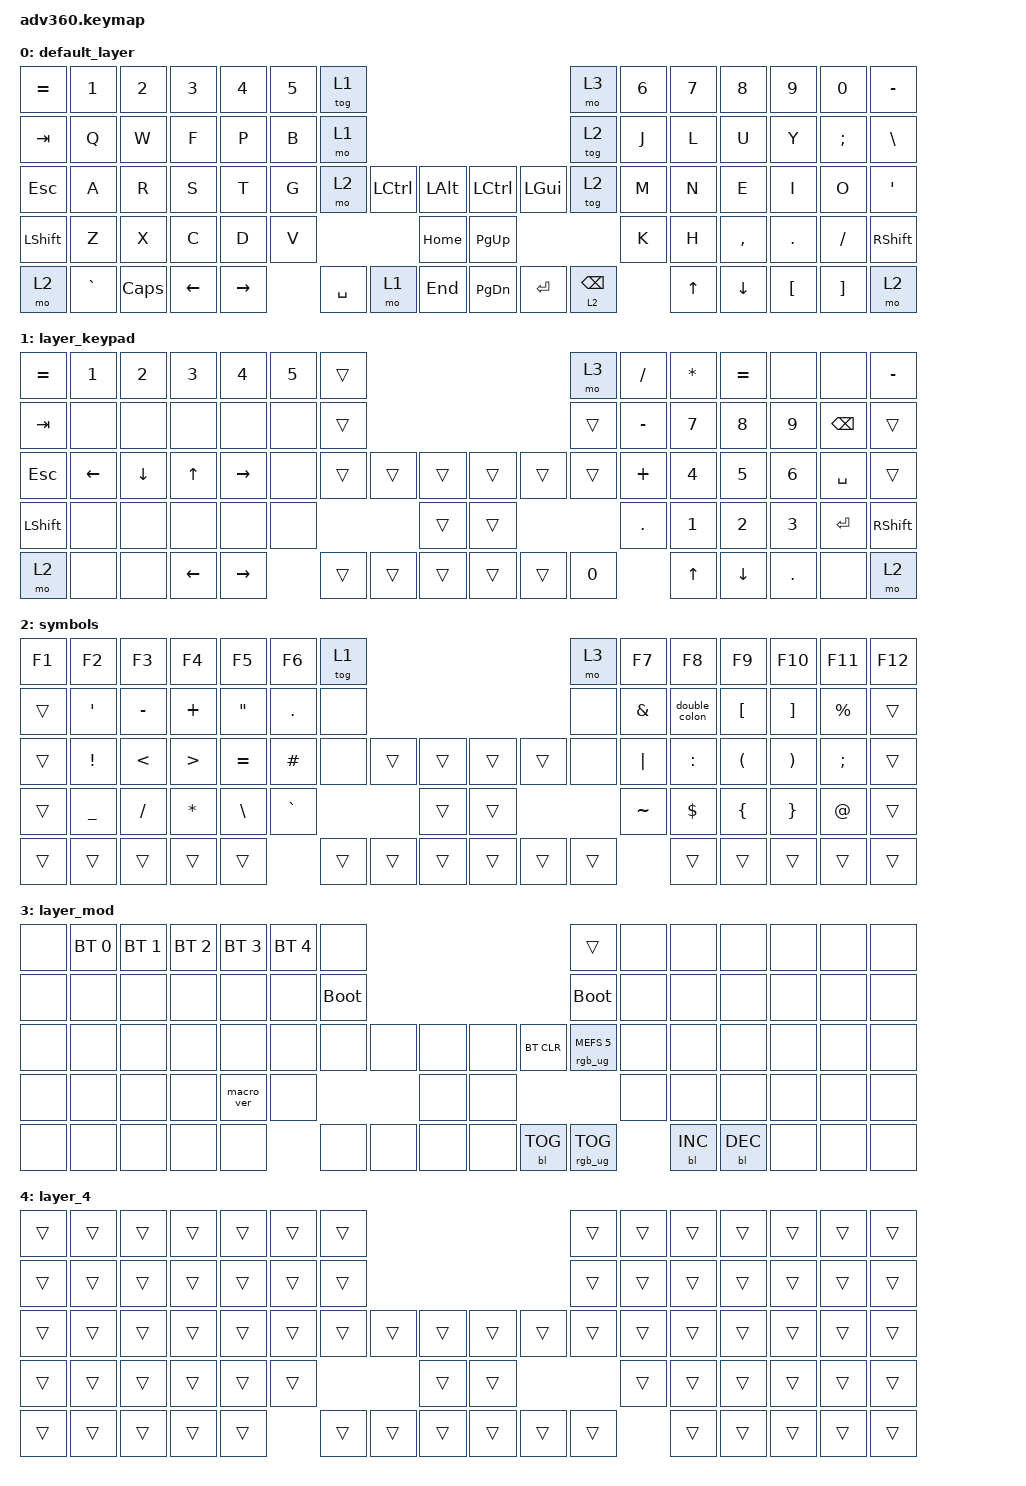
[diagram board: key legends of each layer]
/*
 * Copyright (c) 2020 The ZMK Contributors
 *
 * SPDX-License-Identifier: MIT
 */
/* THIS FILE WAS GENERATED!
 *
 * This file was generated automatically. You may or may not want to
 * edit it directly.
 */

#include <behaviors.dtsi>
#include <dt-bindings/zmk/backlight.h>
#include <dt-bindings/zmk/bt.h>
#include <dt-bindings/zmk/keys.h>
#include <dt-bindings/zmk/rgb.h>

/ {
    behaviors {
        #include "macros.dtsi"
    #include "version.dtsi"

        hm: homerow_mods {
            compatible = "zmk,behavior-hold-tap";
            label = "HOMEROW_MODS";
            #binding-cells = <2>;
            tapping-term-ms = <200>;
            quick_tap_ms = <175>;
            flavor = "tap-preferred";
            bindings = <&kp>, <&kp>;
        };
    };

    macros {
        double_colon: double_colon {
            compatible = "zmk,behavior-macro";
            #binding-cells = <0>;
            bindings = <&kp COLON &kp COLON>;
            label = "DOUBLE_COLON";
        };
    };

    keymap {
        compatible = "zmk,keymap";

        default_layer {
            bindings = <
&kp EQUAL  &kp N1     &kp N2    &kp N3    &kp N4     &kp N5  &tog 1                                                           &mo 3            &kp N6  &kp N7  &kp N8     &kp N9    &kp N0         &kp MINUS
&kp TAB    &kp Q      &kp W     &kp F     &kp P      &kp B   &mo 1                                                            &tog 2           &kp J   &kp L   &kp U      &kp Y     &kp SEMICOLON  &kp BSLH
&kp ESC    &kp A      &kp R     &kp S     &kp T      &kp G   &mo 2      &kp LEFT_CONTROL  &kp LALT      &kp LCTRL  &kp LGUI   &tog 2           &kp M   &kp N   &kp E      &kp I     &kp O          &kp SQT
&kp LSHFT  &kp Z      &kp X     &kp C     &kp D      &kp V                                &kp HOME      &kp PG_UP                              &kp K   &kp H   &kp COMMA  &kp DOT   &kp FSLH       &kp RSHFT
&mo 2      &kp GRAVE  &kp CAPS  &kp LEFT  &kp RIGHT          &kp SPACE  &mo 1             &kp END       &kp PG_DN  &kp ENTER  &lt 2 BACKSPACE          &kp UP  &kp DOWN   &kp LBKT  &kp RBKT       &mo 2
            >;
        };

        layer_keypad {
            bindings = <
&kp EQUAL  &kp N1    &kp N2          &kp N3        &kp N4           &kp N5  &trans                                      &mo 3         &kp SLASH  &kp ASTERISK  &kp EQUAL     &none         &none          &kp MINUS
&kp TAB    &none     &none           &none         &none            &none   &trans                                      &trans        &kp MINUS  &kp NUMBER_7  &kp NUMBER_8  &kp NUMBER_9  &kp BACKSPACE  &trans
&kp ESC    &kp LEFT  &kp DOWN_ARROW  &kp UP_ARROW  &kp RIGHT_ARROW  &none   &trans  &trans  &trans      &trans  &trans  &trans        &kp PLUS   &kp NUMBER_4  &kp NUMBER_5  &kp NUMBER_6  &kp SPACE      &trans
&kp LSHFT  &none     &none           &none         &none            &none                   &trans      &trans                        &kp DOT    &kp NUMBER_1  &kp NUMBER_2  &kp NUMBER_3  &kp ENTER      &kp RSHFT
&mo 2      &none     &none           &kp LEFT      &kp RIGHT                &trans  &trans  &trans      &trans  &trans  &kp NUMBER_0             &kp UP        &kp DOWN      &kp PERIOD    &none          &mo 2
            >;
        };

        symbols {
            bindings = <
&kp F1  &kp F2            &kp F3         &kp F4            &kp F5             &kp F6     &tog 1                                      &mo 3   &kp F7         &kp F8         &kp F9                &kp F10                &kp F11        &kp F12
&trans  &kp SINGLE_QUOTE  &kp MINUS      &kp PLUS          &kp DOUBLE_QUOTES  &kp DOT    &none                                       &none   &kp AMPERSAND  &double_colon  &kp LEFT_BRACKET      &kp RIGHT_BRACKET      &kp PERCENT    &trans
&trans  &kp EXCL          &kp LESS_THAN  &kp GREATER_THAN  &kp EQUAL          &kp HASH   &none   &trans  &trans      &trans  &trans  &none   &kp PIPE       &kp COLON      &kp LEFT_PARENTHESIS  &kp RIGHT_PARENTHESIS  &kp SEMICOLON  &trans
&trans  &kp UNDER         &kp SLASH      &kp ASTERISK      &kp BACKSLASH      &kp GRAVE                  &trans      &trans                  &kp TILDE      &kp DOLLAR     &kp LEFT_BRACE        &kp RIGHT_BRACE        &kp AT_SIGN    &trans
&trans  &trans            &trans         &trans            &trans                        &trans  &trans  &trans      &trans  &trans  &trans                 &trans         &trans                &trans                 &trans         &trans
            >;
        };

        layer_mod {
            bindings = <
&none  &bt BT_SEL 0  &bt BT_SEL 1  &bt BT_SEL 2  &bt BT_SEL 3  &bt BT_SEL 4  &none                                             &trans                  &none  &none       &none       &none  &none  &none
&none  &none         &none         &none         &none         &none         &bootloader                                       &bootloader             &none  &none       &none       &none  &none  &none
&none  &none         &none         &none         &none         &none         &none        &none  &none      &none  &bt BT_CLR  &rgb_ug RGB_MEFS_CMD 5  &none  &none       &none       &none  &none  &none
&none  &none         &none         &none         &macro_ver    &none                             &none      &none                                      &none  &none       &none       &none  &none  &none
&none  &none         &none         &none         &none                       &none        &none  &none      &none  &bl BL_TOG  &rgb_ug RGB_TOG                &bl BL_INC  &bl BL_DEC  &none  &none  &none
            >;
        };

        layer_4 {
            bindings = <
&trans  &trans  &trans  &trans  &trans  &trans  &trans                                      &trans  &trans  &trans  &trans  &trans  &trans  &trans
&trans  &trans  &trans  &trans  &trans  &trans  &trans                                      &trans  &trans  &trans  &trans  &trans  &trans  &trans
&trans  &trans  &trans  &trans  &trans  &trans  &trans  &trans  &trans      &trans  &trans  &trans  &trans  &trans  &trans  &trans  &trans  &trans
&trans  &trans  &trans  &trans  &trans  &trans                  &trans      &trans                  &trans  &trans  &trans  &trans  &trans  &trans
&trans  &trans  &trans  &trans  &trans          &trans  &trans  &trans      &trans  &trans  &trans          &trans  &trans  &trans  &trans  &trans
            >;
        };
    };
};
